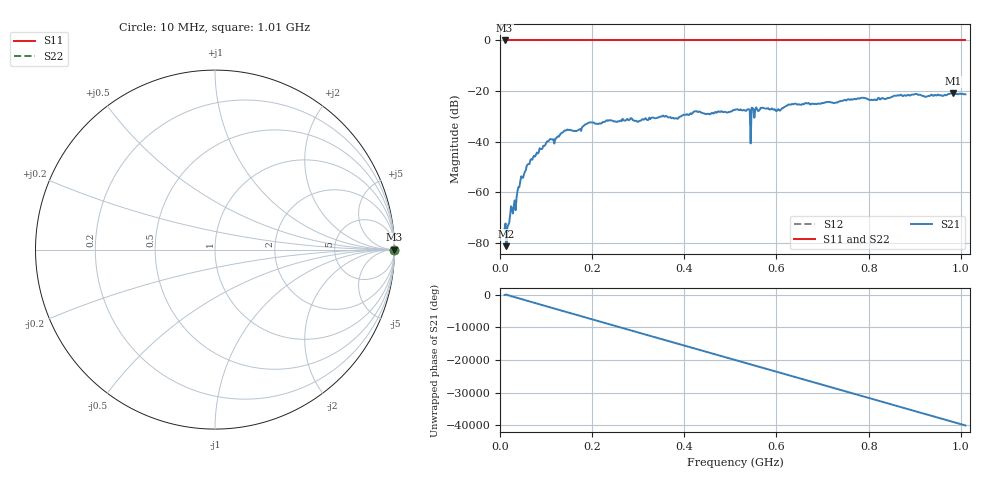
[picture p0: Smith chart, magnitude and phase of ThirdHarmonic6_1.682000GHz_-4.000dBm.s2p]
! 8/16/2025 8:11:02 PM
! C:\ANRITSUVNA\TEMP\TEMP.S2P
! CHANNEL.1
! TR.MEASUREMENT
! RAW.DATA
! RF.CORRECTION.OFF
! AVERAGING.OFF
! IF.BANDWIDTH: 5KHZ
! SWEEPTYPE:  FREQ.SWEEP(Linear)
! Reference Plane Port Info
! PORT:  PORT1  PORT2
! DISTANCE:  0  m  0  m
! TIME:  0  s  0  s
! PHASE.OFFSET:  0  deg.  0  deg.
! LOSS:  0  dB  0  dB
! REF.LOSS:  0  dB  0  dB
! REF.FREQ:  0  Hz  0  Hz
! Power Info
! POWER:  -20  dBm  -20  dBm
! EFF.POWER:  -20  dBm  -20  dBm
! SOURCE.ATTEN:  0  dB  0  dB
! TEST.ATTEN:  0  dB  0  dB
# GHZ S RI R 50.0
! FREQ.GHZ  S11RE  S11IM  S21RE  S21IM  S12RE  S12IM  S22RE  S22IM
!; PortSelection: Port_12
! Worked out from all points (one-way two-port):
!   501 points, 10 MHz to 1.01 GHz, reference 50 ohm
!   highest |S21| = -20.87 dB at 984 MHz (marker M1); lowest = -81.3 dB at 14 MHz (marker M2)
!   lowest |S11| = 0.0 dB at 10 MHz (marker M3)
!   |S11| at or under -10 dB: nowhere
!   |S22| runs from 0.0 to 0.0 dB; largest |S21 - S12| = 1.1
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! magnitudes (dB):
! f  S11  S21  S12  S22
! 10 MHz  0.0  -74.4  0.0  0.0
! 14 MHz  0.0  -81.3  0.0  0.0
! 18 MHz  0.0  -72.9  0.0  0.0
! 28 MHz  0.0  -68.4  0.0  0.0
! 32 MHz  0.0  -63.2  0.0  0.0
! 44 MHz  0.0  -55.8  0.0  0.0
! 70 MHz  0.0  -47.1  0.0  0.0
! 106 MHz  0.0  -39.7  0.0  0.0
! 142 MHz  0.0  -35.6  0.0  0.0
! 178 MHz  0.0  -34.3  0.0  0.0
! 196 MHz  0.0  -32.4  0.0  0.0
! 344 MHz  0.0  -30.5  0.0  0.0
! 510 MHz  0.0  -27.4  0.0  0.0
! 538 MHz  0.0  -27.2  0.0  0.0
! 540 MHz  0.0  -27.1  0.0  0.0
! 548 MHz  0.0  -26.7  0.0  0.0
! 550 MHz  0.0  -27.2  0.0  0.0
! 570 MHz  0.0  -26.6  0.0  0.0
! 678 MHz  0.0  -25.0  0.0  0.0
! 844 MHz  0.0  -22.7  0.0  0.0
! 984 MHz  0.0  -20.9  0.0  0.0
! 1.01 GHz  0.0  -21.3  0.0  0.0
